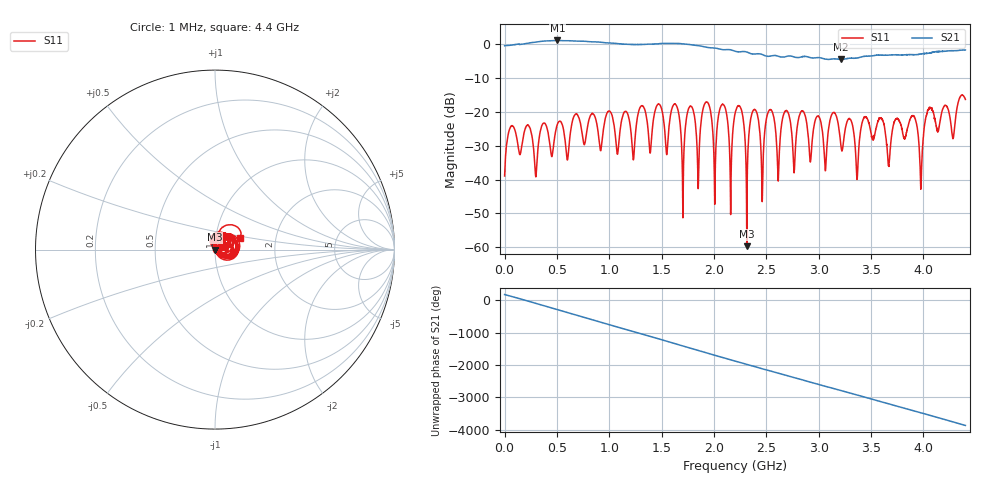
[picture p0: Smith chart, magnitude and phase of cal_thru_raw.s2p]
!Created with skrf (http://scikit-rf.org).
# Hz S RI R 50.0
!freq ReS11 ImS11 ReS21 ImS21 ReS12 ImS12 ReS22 ImS22
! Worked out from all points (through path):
!   4400 points, 1 MHz to 4.4 GHz, reference 50 ohm
!   highest |S21| = 1.15 dB at 505 MHz (marker M1); lowest = -4.5 dB at 3.213 GHz (marker M2)
!   lowest |S11| = -59.7 dB at 2.313 GHz (marker M3), VSWR 1.00, Z = 49.9 + j0.0398 ohm
!   |S11| at or under -10 dB: start of sweep to end of sweep
!   S12 and S22 are empty: the file has one direction only
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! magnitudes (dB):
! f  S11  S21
! 1 MHz  -39.0  -0.4
! 505 MHz  -23.7  1.1
! 735 MHz  -25.0  0.9
! 1.468 GHz  -17.7  0.2
! 1.548 GHz  -32.6  0.3
! 1.641 GHz  -18.1  0.3
! 1.703 GHz  -51.3  0.2
! 1.771 GHz  -18.3  -0.1
! 1.848 GHz  -42.1  -0.4
! 1.921 GHz  -17.2  -0.8
! 2.007 GHz  -47.4  -1.1
! 2.201 GHz  -20.5  -2.0
! 2.313 GHz  -59.7  -2.3
! 2.385 GHz  -19.3  -2.9
! 2.46 GHz  -46.5  -3.0
! 2.535 GHz  -19.3  -3.5
! 2.612 GHz  -40.2  -3.5
! 2.687 GHz  -19.6  -3.6
! 2.934 GHz  -29.9  -4.0
! 3.213 GHz  -30.3  -4.5
! 3.667 GHz  -35.8  -3.2
! 4.4 GHz  -16.3  -1.7
